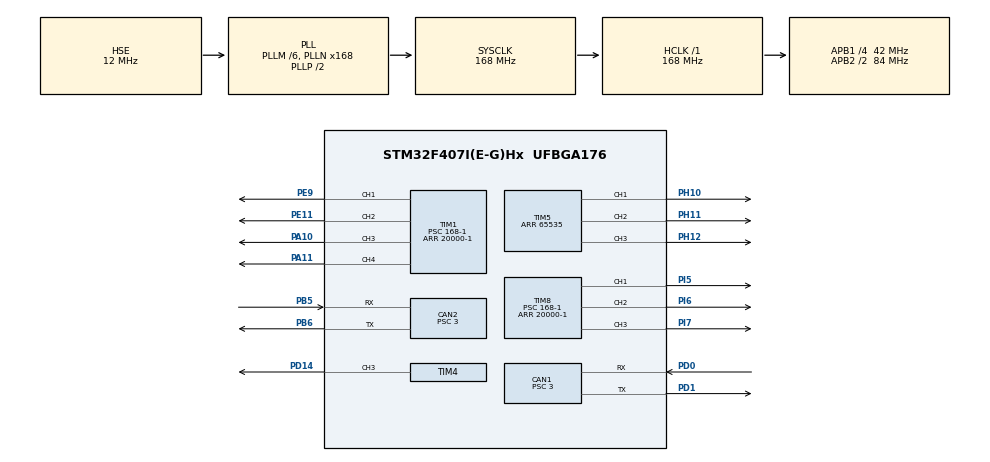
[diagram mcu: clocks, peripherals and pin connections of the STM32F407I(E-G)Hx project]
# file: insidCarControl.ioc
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CAN1.BS1=CAN_BS1_10TQ
CAN1.BS2=CAN_BS2_3TQ
CAN1.CalculateBaudRate=1000000
CAN1.CalculateTimeBit=1000
CAN1.CalculateTimeQuantum=71.42857142857143
CAN1.Prescaler=3
CAN2.BS1=CAN_BS1_10TQ
CAN2.BS2=CAN_BS2_3TQ
CAN2.CalculateBaudRate=1000000
CAN2.CalculateTimeBit=1000
CAN2.CalculateTimeQuantum=71.42857142857143
CAN2.Prescaler=3
Mcu.Family=STM32F4
Mcu.Name=STM32F407I(E-G)Hx
Mcu.Package=UFBGA176
NVIC.CAN1_RX0_IRQn=true\:0\:0\:false\:false\:true\:true\:true\:true
NVIC.CAN1_RX1_IRQn=true\:0\:0\:false\:false\:true\:true\:true\:true
NVIC.CAN2_RX0_IRQn=true\:0\:0\:false\:false\:true\:true\:true\:true
NVIC.CAN2_RX1_IRQn=true\:0\:0\:false\:false\:true\:true\:true\:true
NVIC.PriorityGroup=NVIC_PRIORITYGROUP_4
NVIC.TIM6_DAC_IRQn=true\:0\:0\:false\:false\:true\:true\:true\:true
PA10.Signal=S_TIM1_CH3
PA11.Signal=S_TIM1_CH4
PA13.Mode=Serial_Wire
PA13.Signal=SYS_JTMS-SWDIO
PA14.Mode=Serial_Wire
PA14.Signal=SYS_JTCK-SWCLK
PB5.Mode=CAN_Activate
PB5.Signal=CAN2_RX
PB6.Mode=CAN_Activate
PB6.Signal=CAN2_TX
PD0.Mode=CAN_Activate
PD0.Signal=CAN1_RX
PD1.Mode=CAN_Activate
PD1.Signal=CAN1_TX
PD14.Signal=S_TIM4_CH3
PE11.Signal=S_TIM1_CH2
PE9.Signal=S_TIM1_CH1
PH0-OSC_IN.Mode=HSE-External-Oscillator
PH0-OSC_IN.Signal=RCC_OSC_IN
PH1-OSC_OUT.Mode=HSE-External-Oscillator
PH1-OSC_OUT.Signal=RCC_OSC_OUT
PH10.Signal=S_TIM5_CH1
PH11.Signal=S_TIM5_CH2
PH12.Signal=S_TIM5_CH3
PI5.Signal=S_TIM8_CH1
PI6.Signal=S_TIM8_CH2
PI7.Signal=S_TIM8_CH3
ProjectManager.HeapSize=0x200
ProjectManager.StackSize=0x400
ProjectManager.TargetToolchain=MDK-ARM V5.32
RCC.48MHZClocksFreq_Value=84000000
RCC.AHBFreq_Value=168000000
RCC.APB1CLKDivider=RCC_HCLK_DIV4
RCC.APB1Freq_Value=42000000
RCC.APB1TimFreq_Value=84000000
RCC.APB2CLKDivider=RCC_HCLK_DIV2
RCC.APB2Freq_Value=84000000
RCC.APB2TimFreq_Value=168000000
RCC.CortexFreq_Value=168000000
RCC.HCLKFreq_Value=168000000
RCC.HSE_VALUE=12000000
RCC.HSI_VALUE=16000000
RCC.LSE_VALUE=32768
RCC.PLLM=6
RCC.PLLN=168
RCC.PLLSourceVirtual=RCC_PLLSOURCE_HSE
RCC.SYSCLKFreq_VALUE=168000000
RCC.SYSCLKSource=RCC_SYSCLKSOURCE_PLLCLK
RCC.VCOOutputFreq_Value=336000000
SH.S_TIM1_CH1.0=TIM1_CH1,PWM Generation1 CH1
SH.S_TIM1_CH2.0=TIM1_CH2,PWM Generation2 CH2
SH.S_TIM1_CH3.0=TIM1_CH3,PWM Generation3 CH3
SH.S_TIM1_CH4.0=TIM1_CH4,PWM Generation4 CH4
SH.S_TIM4_CH3.0=TIM4_CH3,PWM Generation3 CH3
SH.S_TIM5_CH1.0=TIM5_CH1,PWM Generation1 CH1
SH.S_TIM5_CH2.0=TIM5_CH2,PWM Generation2 CH2
SH.S_TIM5_CH3.0=TIM5_CH3,PWM Generation3 CH3
SH.S_TIM8_CH1.0=TIM8_CH1,PWM Generation1 CH1
SH.S_TIM8_CH2.0=TIM8_CH2,PWM Generation2 CH2
SH.S_TIM8_CH3.0=TIM8_CH3,Output Compare3 CH3
TIM1.Channel-PWM\ Generation1\ CH1=TIM_CHANNEL_1
TIM1.Channel-PWM\ Generation2\ CH2=TIM_CHANNEL_2
TIM1.Channel-PWM\ Generation3\ CH3=TIM_CHANNEL_3
TIM1.Channel-PWM\ Generation4\ CH4=TIM_CHANNEL_4
TIM1.Period=20000-1
TIM1.Prescaler=168-1
TIM4.Channel-PWM\ Generation3\ CH3=TIM_CHANNEL_3
TIM4.Period=20999
TIM5.Channel-PWM\ Generation1\ CH1=TIM_CHANNEL_1
TIM5.Channel-PWM\ Generation2\ CH2=TIM_CHANNEL_2
TIM5.Channel-PWM\ Generation3\ CH3=TIM_CHANNEL_3
TIM5.Period=65535
TIM6.AutoReloadPreload=TIM_AUTORELOAD_PRELOAD_ENABLE
TIM6.Period=1000-1
TIM6.Prescaler=84-1
TIM8.Channel-Output\ Compare3\ CH3=TIM_CHANNEL_3
TIM8.Channel-PWM\ Generation1\ CH1=TIM_CHANNEL_1
TIM8.Channel-PWM\ Generation2\ CH2=TIM_CHANNEL_2
TIM8.Period=20000-1
TIM8.Prescaler=168-1
VP_TIM1_VS_ClockSourceINT.Mode=Internal
VP_TIM4_VS_ClockSourceINT.Mode=Internal
VP_TIM5_VS_ClockSourceINT.Mode=Internal
VP_TIM6_VS_ClockSourceINT.Mode=Enable_Timer
VP_TIM8_VS_ClockSourceINT.Mode=Internal
board=custom

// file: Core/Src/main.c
/* USER CODE BEGIN Header */
/**
  ******************************************************************************
  * @file           : main.c
  * @brief          : Main program body
  ******************************************************************************
  * @attention
  *
  * Copyright (c) 2023 STMicroelectronics.
  * All rights reserved.
  *
  * This software is licensed under terms that can be found in the LICENSE file
  * in the root directory of this software component.
  * If no LICENSE file comes with this software, it is provided AS-IS.
  *
  ******************************************************************************
  */
/* USER CODE END Header */
#include "main.h"
#include "can.h"
#include "tim.h"
#include "gpio.h"

/* USER CODE BEGIN Includes */
#include "bsp_led.h"
#include "bsp_buzzer.h"
#include "bsp_servo.h"
#include "bsp_can.h"
#include "pid.h"
#include "bsp_motor.h"

/* USER CODE END Includes */

void SystemClock_Config(void);

/* USER CODE BEGIN 0 */
void HAL_TIM_PeriodElapsedCallback(TIM_HandleTypeDef *htim)
{
	if(htim == &htim6)  //1ms
	{
		static int delay2=0;
		delay2++;
		led_flash(500);
		if(delay2==4)
		{
			delay2=0;
			first_order_filter_cali(&motov_filter,insideCar_speed);
			motor_pid[0].target = motov_filter.out;
			motor_pid[1].target = -motov_filter.out;

			if(moto_chassis[4].total_angle >= 90.0/360*19*8192)
				motor_pid[4].target = -angle_probe;
			else if(moto_chassis[4].total_angle <= -90.0/360*19*8192)
				motor_pid[4].target = angle_probe;

			for(int i=0; i<5; i++)
			{
				motor_pid[i].f_cal_pid(&motor_pid[i],moto_chassis[i].speed_rpm);    //根据设定值进行PID计算。
			}
			set_moto_current(&hcan1, MotoHead,  motor_pid[0].output,   //将PID的计算结果通过CAN发送到电机
																					motor_pid[1].output,
																					motor_pid[2].output,
																					motor_pid[3].output);

//			motor_pid_position.target = angle_probe/360*19*8192;
//			motor_pid_position.f_cal_pid(&motor_pid_position,moto_chassis[4].total_angle);
//			motor_pid[4].target = motor_pid_position.output;
			set_moto_current(&hcan1, MotoTail,  motor_pid[4].output,   //将PID的计算结果通过CAN发送到电机
																					0,
																					0,
																					0);
		}

	}
}
/* USER CODE END 0 */

int main(void)
{

  /* MCU Configuration--------------------------------------------------------*/

  /* Reset of all peripherals, Initializes the Flash interface and the Systick. */
  HAL_Init();

  /* Configure the system clock */
  SystemClock_Config();

  /* Initialize all configured peripherals */
  MX_GPIO_Init();
  MX_TIM5_Init();
  MX_TIM4_Init();
  MX_TIM1_Init();
  MX_TIM8_Init();
  MX_CAN1_Init();
  MX_TIM6_Init();
  MX_CAN2_Init();
  /* USER CODE BEGIN 2 */
	servo_init();
	//开启LED 定时器
	HAL_TIM_Base_Start(&htim5);
	//开启LED PWM通道
	HAL_TIM_PWM_Start(&htim5, TIM_CHANNEL_1);
	HAL_TIM_PWM_Start(&htim5, TIM_CHANNEL_2);
	HAL_TIM_PWM_Start(&htim5, TIM_CHANNEL_3);
	//开启蜂鸣器 定时器
	HAL_TIM_Base_Start(&htim4);
	//开启蜂鸣器 PWM通道
	HAL_TIM_PWM_Start(&htim4, TIM_CHANNEL_3);

	//开启定时器6定时1ms
	HAL_TIM_Base_Start_IT(&htim6);
	//3508电机can初始化
//	can_filter_init();
	motor_init();
	//蜂鸣器测试
	for(int i=0;i<4;i++)
	{
		buzzer_on(0, 10000);HAL_Delay(100);
		buzzer_off();HAL_Delay(100);
	}
//	servo_test();
	insideCar_speed = 1000;

  /* USER CODE END 2 */

  /* Infinite loop */
  /* USER CODE BEGIN WHILE */
  while (1)
  {
//		aRGB_led_show(0xffff0000);
//		HAL_Delay(500);
//		aRGB_led_show(0xff00ff00);
//		HAL_Delay(500);
//		aRGB_led_show(0xff0000ff);
//		HAL_Delay(500);

    /* USER CODE END WHILE */

  }
}

void SystemClock_Config(void)
{
  RCC_OscInitTypeDef RCC_OscInitStruct = {0};
  RCC_ClkInitTypeDef RCC_ClkInitStruct = {0};

  /** Configure the main internal regulator output voltage
  */
  __HAL_RCC_PWR_CLK_ENABLE();
  __HAL_PWR_VOLTAGESCALING_CONFIG(PWR_REGULATOR_VOLTAGE_SCALE1);

  /** Initializes the RCC Oscillators according to the specified parameters
  * in the RCC_OscInitTypeDef structure.
  */
  RCC_OscInitStruct.OscillatorType = RCC_OSCILLATORTYPE_HSE;
  RCC_OscInitStruct.HSEState = RCC_HSE_ON;
  RCC_OscInitStruct.PLL.PLLState = RCC_PLL_ON;
  RCC_OscInitStruct.PLL.PLLSource = RCC_PLLSOURCE_HSE;
  RCC_OscInitStruct.PLL.PLLM = 6;
  RCC_OscInitStruct.PLL.PLLN = 168;
  RCC_OscInitStruct.PLL.PLLP = RCC_PLLP_DIV2;
  RCC_OscInitStruct.PLL.PLLQ = 4;
  if (HAL_RCC_OscConfig(&RCC_OscInitStruct) != HAL_OK)
  {
    Error_Handler();
  }

  /** Initializes the CPU, AHB and APB buses clocks
  */
  RCC_ClkInitStruct.ClockType = RCC_CLOCKTYPE_HCLK|RCC_CLOCKTYPE_SYSCLK
                              |RCC_CLOCKTYPE_PCLK1|RCC_CLOCKTYPE_PCLK2;
  RCC_ClkInitStruct.SYSCLKSource = RCC_SYSCLKSOURCE_PLLCLK;
  RCC_ClkInitStruct.AHBCLKDivider = RCC_SYSCLK_DIV1;
  RCC_ClkInitStruct.APB1CLKDivider = RCC_HCLK_DIV4;
  RCC_ClkInitStruct.APB2CLKDivider = RCC_HCLK_DIV2;

  if (HAL_RCC_ClockConfig(&RCC_ClkInitStruct, FLASH_LATENCY_5) != HAL_OK)
  {
    Error_Handler();
  }
}

void Error_Handler(void)
{
  __disable_irq();
  while (1)
  {
  }
}
